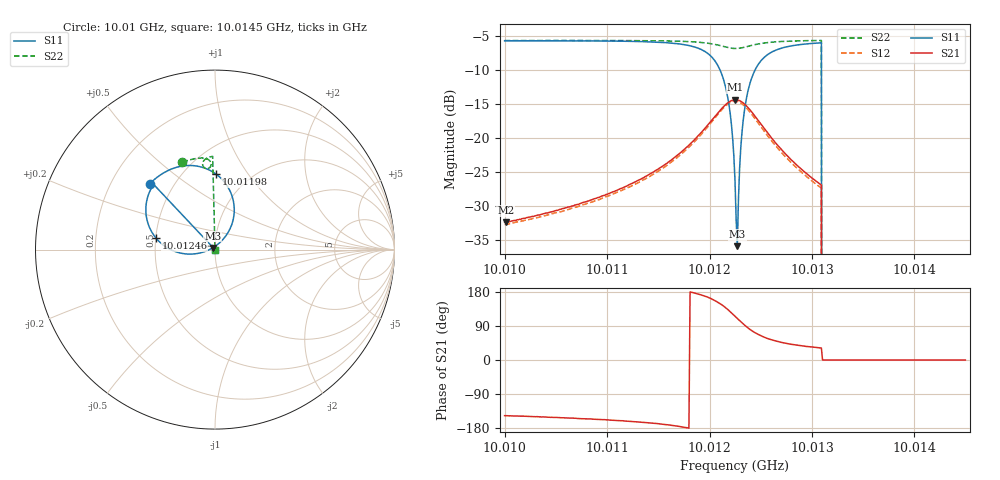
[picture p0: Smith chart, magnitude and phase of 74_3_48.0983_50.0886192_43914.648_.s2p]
#  HZ  S  RI  R  50.00
! Rohde & Schwarz Vector Network Analyzer
! Rohde-Schwarz,ZNB20-2Port,1311601062101988,3.16
! Created: UTC 12/23/2023, 3:42:06 AM
! freq[Hz]  re:S11  im:S11  re:S21  im:S21  re:S12  im:S12  re:S22  im:S22
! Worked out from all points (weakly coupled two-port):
!   401 points, 10.01 GHz to 10.0145 GHz, reference 50 ohm
!   highest |S21| = -14.42 dB at 10.01225 GHz (marker M1); lowest = -32.4 dB at 10.01001 GHz (marker M2)
!   lowest |S11| = -36.0 dB at 10.01227 GHz (marker M3), VSWR 1.03, Z = 48.7 + j0.935 ohm
!   |S11| at or under -10 dB: 10.0121 GHz to 10.01244 GHz (344.1 kHz wide, 0.00344 % of centre); 10.01309 GHz to end of sweep
!   |S22| runs from - to -5.7 dB; largest |S21 - S12| = 0.0089
!   S11 on the Smith chart (normalised r, x): 10.01 GHz: 0.37, +0.37; 10.01198 GHz: 0.71, +0.72; 10.01246 GHz: 0.50, +0.07; 10.0145 GHz: 1.00, +0.00
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1.0009999e10  -0.3649 0.3652  -0.02 -0.0131  -0.0185 -0.0136  -0.1814 0.486
1.001001e10  -0.3643 0.366  -0.02 -0.0131  -0.0186 -0.0136  -0.1806 0.4863
1.0010752e10  -0.3092 0.4129  -0.03 -0.014  -0.0281 -0.015  -0.1329 0.502
1.0011506e10  -0.2015 0.462  -0.0582 -0.012  -0.0552 -0.0146  -0.0767 0.5108
1.0011978e10  0.0077 0.4193  -0.1194 0.0293  -0.1172 0.0226  -0.0297 0.4956
1.001209e10  0.0885 0.3161  -0.1353 0.0763  -0.1359 0.0676  -0.0216 0.4785
1.0012169e10  0.1046 0.1844  -0.1266 0.1259  -0.1292 0.1177  -0.0253 0.4619
1.0012214e10  0.0742 0.0976  -0.1054 0.1549  -0.1087 0.1476  -0.033 0.4543
1.0012225e10  0.0608 0.0768  -0.0982 0.1613  -0.1017 0.154  -0.0357 0.4532
1.0012248e10  0.0276 0.0397  -0.0819 0.1715  -0.0856 0.1647  -0.0412 0.4514
1.001227e10  -0.0127 0.00959  -0.0639 0.1785  -0.0682 0.1718  -0.047 0.4513
1.0012282e10  -0.0351 -0.00225  -0.0546 0.1805  -0.0588 0.1739  -0.05 0.4517
1.0012315e10  -0.1054 -0.0228  -0.0268 0.1811  -0.0308 0.175  -0.0577 0.455
1.0012349e10  -0.1742 -0.0227  -0.000801 0.1746  -0.00543 0.1687  -0.0636 0.4605
1.0012394e10  -0.2512 0.00194  0.026 0.1582  0.02 0.153  -0.068 0.4695
1.0012462e10  -0.3276 0.0628  0.0485 0.1291  0.043 0.125  -0.0684 0.4825
1.0012641e10  -0.3851 0.2116  0.0584 0.071  0.0532 0.0699  -0.0538 0.5043
1.0013001e10  -0.3529 0.3458  0.0416 0.0284  0.0384 0.0287  -0.0207 0.5181
1.0013069e10  -0.3448 0.3594  0.0388 0.0246  0.0359 0.0251  -0.015 0.519
1.0013125e10  0 0  0 0  0 0  0 0
1.0013755e10  0 0  0 0  0 0  0 0
1.0014497e10  0 0  0 0  0 0  0 0
